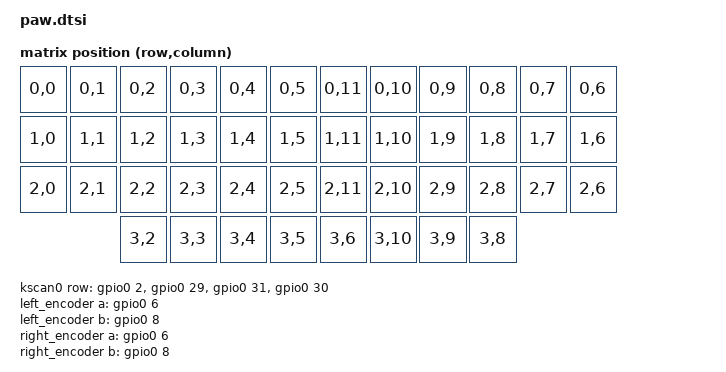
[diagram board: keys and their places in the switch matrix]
#include <dt-bindings/zmk/matrix_transform.h>
#include <physical_layouts.dtsi>
#include "paw-layouts.dtsi"

/* ---- DYA Studio: Runtime Input Processor (Trackball 标签页) ----------------
 * 参考实现: cormoran/zmk-keyboard-dya2 的 boards/shields/dya2/dya2.dtsi
 * 说明: https://studio.dya.cormoran.works/developer-guide/modules/trackball
 *       https://github.com/cormoran/zmk-module-runtime-input-processor
 *
 * !! 三行 input-processor 的 #include 刻意**没有**放在这里，而是放在
 *    paw_left.overlay 里 `#include "paw.dtsi"` 之后。原因是一个很坑的宏冲突：
 *
 *      dt-bindings/zmk/matrix_transform.h -> #define RC(row, col)  ← 矩阵位置
 *      dt-bindings/zmk/modifiers.h        -> #define RC(keycode)   ← 右 Ctrl
 *
 *    <input/processors/runtime-input-processor.dtsi> 会 #include
 *    <dt-bindings/zmk/keys.h>，而 keys.h 又 include modifiers.h。
 *    如果把这三行放在本文件顶部，它们会**先于**下面的
 *      map = <RC(0,0) RC(0,1) ...>
 *    被展开，于是 RC 变成了「只收 1 个参数」的右 Ctrl，编译直接报
 *      error: macro "RC" passed 2 arguments, but takes just 1
 *    （这就是 2026-10-02 那次 CI 失败的原因。）
 *
 *    原来的仓库之所以没事，是因为 keymap 里 include keys.h 的动作发生在
 *    shield overlay **之后**——纯属顺序巧合。所以这个 include 的位置不能动。
 *
 * 另外：input-processors 只写在**中央侧（左半）**，见 paw_left.overlay。
 * 原因是本键盘右半的轨迹球是通过
 *   &pmw_split { device = <&trackball>; }
 * 被直接转发到中央侧的，**绕过了 input-listener**；而外周侧自己没有 HID 输出，
 * 所以在右半的 listener 上挂 processor 对外发路径不起作用，只会白占 RAM
 * 并可能让两半出现同名 processor-label。
 */

/ {
    chosen {
        zmk,physical-layout = &physical_layout0;
    };

    trackball_listener: trackball_listener {
        compatible = "zmk,input-listener";
        device = <&trackball>;
        /* input-processors 只在中央侧（paw_left.overlay）挂，原因见文件头注释 */
    };

    matrix_transform0:  keymap_transform_0 {
        compatible = "zmk,matrix-transform";
        columns = <12>;
        rows = <4>;

        map = <
        RC(0,0) RC(0,1) RC(0,2) RC(0,3) RC(0,4) RC(0,5)  RC(0,11) RC(0,10) RC(0,9) RC(0,8) RC(0,7) RC(0,6)
        RC(1,0) RC(1,1) RC(1,2) RC(1,3) RC(1,4) RC(1,5)  RC(1,11) RC(1,10) RC(1,9) RC(1,8) RC(1,7) RC(1,6)
        RC(2,0) RC(2,1) RC(2,2) RC(2,3) RC(2,4) RC(2,5)  RC(2,11) RC(2,10) RC(2,9) RC(2,8) RC(2,7) RC(2,6)
                        RC(3,2) RC(3,3) RC(3,4) RC(3,5)  RC(3,6) RC(3,10) RC(3,9) RC(3,8)
        >;
    };

    kscan0: kscan {
        compatible = "zmk,kscan-gpio-matrix";
        label = "KSCAN";

        diode-direction = "row2col";
                row-gpios
                        = <&gpio0 2 GPIO_ACTIVE_HIGH>
                        , <&gpio0 29 GPIO_ACTIVE_HIGH>
                        , <&gpio0 31 GPIO_ACTIVE_HIGH>
                        , <&gpio0 30 GPIO_ACTIVE_HIGH>
            ;
    };

        left_encoder: encoder_left {
                                        compatible = "alps,ec11";
                                        a-gpios = <&gpio0 6 (GPIO_ACTIVE_HIGH | GPIO_PULL_UP)>;
                                        b-gpios = <&gpio0 8 (GPIO_ACTIVE_HIGH | GPIO_PULL_UP)>;
                                        status = "disabled";
                                        steps = <30>;
         };

        right_encoder: encoder_right {
                                        compatible = "alps,ec11";
                                        a-gpios = <&gpio0 6 (GPIO_ACTIVE_HIGH | GPIO_PULL_UP)>;
                                        b-gpios = <&gpio0 8 (GPIO_ACTIVE_HIGH | GPIO_PULL_UP)>;
                                        status = "disabled";
                                        steps = <30>;
         };
        sensors: sensors {
                                        compatible = "zmk,keymap-sensors";
                                        sensors = <&left_encoder &right_encoder>;
                                        triggers-per-rotation = <60>;
                        };
};

/ {
    split_inputs {
        #address-cells = <1>;
        #size-cells = <0>;

        pmw_split: pmw_split@0 {
            compatible = "zmk,input-split";
            reg = <0>;
        };
    };

    pmw_listener: pmw_listener {
        compatible = "zmk,input-listener";
        status = "disabled";
        device = <&pmw_split>;
    };
};

/ {
    left_listener: left_listener {
        compatible = "zmk,input-listener";
        status = "disabled";
    };
};
